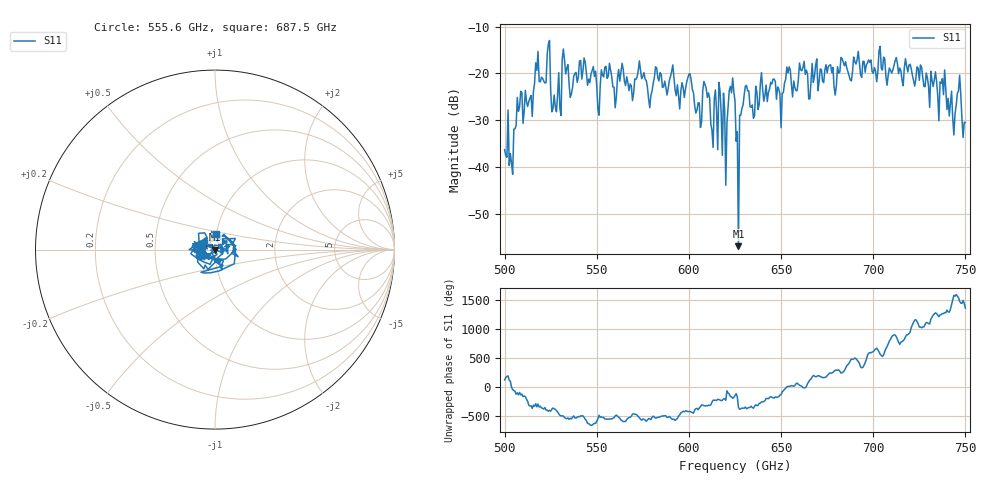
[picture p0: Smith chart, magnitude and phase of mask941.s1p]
!Created with skrf (http://scikit-rf.org).
# GHz S MA R 50.0
!freq magS11 angS11
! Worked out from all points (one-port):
!   401 points, 500 GHz to 750 GHz, reference 50 ohm
!   lowest |S11| = -57.0 dB at 626.9 GHz (marker M1), VSWR 1.00, Z = 50.1 + j0.019 ohm
!   |S11| at or under -10 dB: start of sweep to end of sweep
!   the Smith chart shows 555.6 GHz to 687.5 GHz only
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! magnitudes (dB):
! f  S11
! 500 GHz  -36.3
! 503.8 GHz  -39.2
! 508.1 GHz  -27.2
! 513.8 GHz  -25.3
! 517.5 GHz  -19.3
! 523.8 GHz  -13.7
! 526.9 GHz  -24.6
! 531.2 GHz  -17.0
! 562.5 GHz  -21.7
! 590.6 GHz  -19.6
! 593.8 GHz  -22.4
! 600 GHz  -20.2
! 605.6 GHz  -26.3
! 609.4 GHz  -23.2
! 619.4 GHz  -27.6
! 623.1 GHz  -24.1
! 625 GHz  -25.8
! 625.6 GHz  -34.5
! 626.9 GHz  -57.0
! 631.2 GHz  -22.6
! 634.4 GHz  -26.7
! 656.2 GHz  -25.0
! 687.5 GHz  -21.3
! 718.8 GHz  -19.7
! 737.5 GHz  -21.1
! 742.5 GHz  -23.8
! 746.2 GHz  -23.7
! 750 GHz  -30.5
